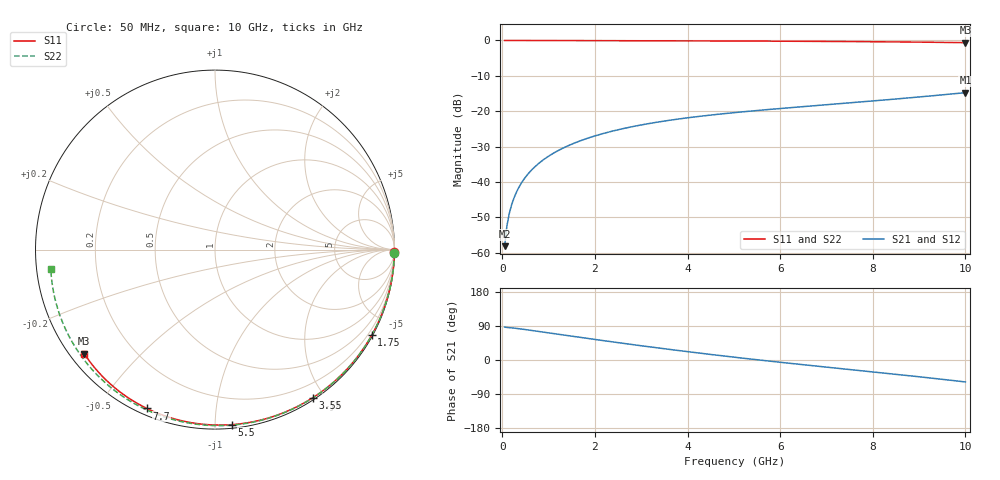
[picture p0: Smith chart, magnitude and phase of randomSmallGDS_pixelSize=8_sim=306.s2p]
! freq	dB(S11)	phase(S11)	dB(S12)	phase(S12)
!  dB(S21)	phase(S21)	dB(S22)	phase(S22)
!S-par simulation data
#  GHz  S  DB  R 50
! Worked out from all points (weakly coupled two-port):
!   200 points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, 50 MHz to 10 GHz, reference 50 ohm
!   highest |S21| = -14.76 dB at 10 GHz (marker M1); lowest = -58.2 dB at 50 MHz (marker M2)
!   lowest |S11| = -0.6 dB at 10 GHz (marker M3), VSWR 28.00, Z = 2 - j17.4 ohm
!   |S11| at or under -10 dB: nowhere
!   |S22| runs from -0.7 to 0.0 dB; largest |S21 - S12| = 0
!   S11 on the Smith chart (normalised r, x): 50 MHz: open; 1.75 GHz: 0.04, -3.91; 3.55 GHz: 0.02, -1.86; 5.5 GHz: 0.02, -1.10; 7.7 GHz: 0.03, -0.66; 10 GHz: 0.04, -0.35
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0.05  -0.00 -0.8  -58.16 86.8  -58.16 86.8  -0.00 -1.0
0.1  -0.00 -1.7  -52.38 85.9  -52.38 85.9  -0.00 -2.0
0.15  -0.00 -2.5  -48.97 85.4  -48.97 85.4  -0.00 -3.0
0.2  -0.00 -3.3  -46.52 84.9  -46.52 84.9  -0.00 -4.0
0.25  -0.00 -4.2  -44.61 84.2  -44.61 84.2  -0.00 -5.0
0.35  -0.00 -5.8  -41.72 82.7  -41.72 82.7  -0.01 -6.9
0.5  -0.01 -8.3  -38.65 80.3  -38.65 80.3  -0.01 -9.9
0.7  -0.01 -11.6  -35.76 76.9  -35.76 76.9  -0.02 -13.8
1  -0.02 -16.5  -32.72 71.6  -32.72 71.6  -0.03 -19.6
1.35  -0.03 -22.2  -30.19 65.5  -30.19 65.5  -0.04 -26.4
1.75  -0.04 -28.7  -28.06 58.5  -28.06 58.5  -0.05 -34.0
2.6  -0.07 -42.1  -24.95 44.1  -24.95 44.1  -0.08 -49.9
3.4  -0.09 -54.3  -22.99 31.2  -22.99 31.2  -0.11 -64.4
3.55  -0.10 -56.6  -22.69 28.9  -22.69 28.9  -0.11 -67.0
4.3  -0.12 -67.6  -21.39 17.6  -21.39 17.6  -0.14 -80.0
5.05  -0.16 -78.3  -20.35 6.8  -20.35 6.8  -0.18 -92.6
5.5  -0.18 -84.5  -19.81 0.6  -19.81 0.6  -0.20 -100.0
6.7  -0.25 -100.4  -18.50 -15.0  -18.50 -15.0  -0.29 -119.2
7.7  -0.33 -113.2  -17.44 -27.6  -17.44 -27.6  -0.38 -135.0
8.35  -0.39 -121.3  -16.73 -35.8  -16.73 -35.8  -0.45 -145.4
9.2  -0.50 -131.8  -15.74 -46.9  -15.74 -46.9  -0.57 -159.4
10  -0.62 -141.6  -14.76 -57.9  -14.76 -57.9  -0.71 -173.2
